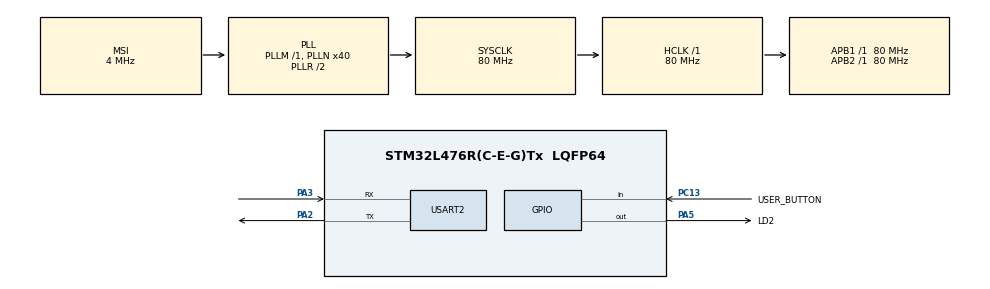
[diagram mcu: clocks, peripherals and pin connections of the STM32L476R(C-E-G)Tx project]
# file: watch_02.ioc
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IWDG.Prescaler=IWDG_PRESCALER_32
Mcu.Family=STM32L4
Mcu.Name=STM32L476R(C-E-G)Tx
Mcu.Package=LQFP64
NVIC.PriorityGroup=NVIC_PRIORITYGROUP_4
PA13\ (JTMS-SWDIO).Mode=Serial_Wire
PA13\ (JTMS-SWDIO).Signal=SYS_JTMS-SWDIO
PA14\ (JTCK-SWCLK).Mode=Serial_Wire
PA14\ (JTCK-SWCLK).Signal=SYS_JTCK-SWCLK
PA2.Mode=Asynchronous
PA2.Signal=USART2_TX
PA3.Mode=Asynchronous
PA3.Signal=USART2_RX
PA5.GPIO_Label=LD2
PA5.Signal=GPIO_Output
PC13.GPIO_Label=USER_BUTTON
PC13.Signal=GPIO_Input
PC14-OSC32_IN\ (PC14).Mode=LSE-External-Oscillator
PC14-OSC32_IN\ (PC14).Signal=RCC_OSC32_IN
PC15-OSC32_OUT\ (PC15).Mode=LSE-External-Oscillator
PC15-OSC32_OUT\ (PC15).Signal=RCC_OSC32_OUT
ProjectManager.HeapSize=0x200
ProjectManager.StackSize=0x400
ProjectManager.TargetToolchain=STM32CubeIDE
RCC.ADCFreq_Value=16000000
RCC.AHBFreq_Value=80000000
RCC.APB1Freq_Value=80000000
RCC.APB1TimFreq_Value=80000000
RCC.APB2Freq_Value=80000000
RCC.APB2TimFreq_Value=80000000
RCC.CortexFreq_Value=80000000
RCC.HCLKFreq_Value=80000000
RCC.HSE_VALUE=8000000
RCC.HSI_VALUE=16000000
RCC.MSI_VALUE=4000000
RCC.PLLN=40
RCC.RTCClockSelection=RCC_RTCCLKSOURCE_LSE
RCC.SYSCLKFreq_VALUE=80000000
RCC.SYSCLKSource=RCC_SYSCLKSOURCE_PLLCLK
RCC.USBFreq_Value=16000000
RCC.VCOOutputFreq_Value=160000000
USART2.OverrunDisableParam=ADVFEATURE_OVERRUN_DISABLE
USART2.VirtualMode-Asynchronous=VM_ASYNC
VP_IWDG_VS_IWDG.Mode=IWDG_Activate
VP_RTC_VS_RTC_Activate.Mode=RTC_Enabled
board=custom

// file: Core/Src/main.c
/* USER CODE BEGIN Header */
/**
  ******************************************************************************
  * @file           : main.c
  * @brief          : Main program body
  ******************************************************************************
  * @attention
  *
  * <h2><center>&copy; Copyright (c) 2022 STMicroelectronics.
  * All rights reserved.</center></h2>
  *
  * This software component is licensed by ST under BSD 3-Clause license,
  * the "License"; You may not use this file except in compliance with the
  * License. You may obtain a copy of the License at:
  *                        opensource.org/licenses/BSD-3-Clause
  *
  ******************************************************************************
  */
/* USER CODE END Header */
#include "main.h"
#include "iwdg.h"
#include "rtc.h"
#include "usart.h"
#include "gpio.h"

/* USER CODE BEGIN Includes */
#include <stdio.h>
#include <string.h>
#include <stdbool.h>
/* USER CODE END Includes */

void SystemClock_Config(void);

/* USER CODE BEGIN PFP */
int __io_putchar(int ch);

bool is_button_pressed(void);
/* USER CODE END PFP */

int main(void)
{

    /* MCU Configuration--------------------------------------------------------*/

    /* Reset of all peripherals, Initializes the Flash interface and the Systick. */
    HAL_Init();

    /* Configure the system clock */
    SystemClock_Config();

    /* Initialize all configured peripherals */
    MX_GPIO_Init();
    MX_USART2_UART_Init();
    MX_RTC_Init();
    MX_IWDG_Init();
    /* USER CODE BEGIN 2 */
    int i;

    for (i = 0; i < 10; i++)
    {
        HAL_GPIO_TogglePin(LD2_GPIO_Port, LD2_Pin);
        HAL_Delay(100);
    }

    uint32_t last_ms = HAL_GetTick();
    /* USER CODE END 2 */

    /* Infinite loop */
    /* USER CODE BEGIN WHILE */
    while (1)
    {
        uint32_t now_ms = HAL_GetTick();

        if (is_button_pressed())
        {
            while (1)
            {
            }
        }

        if ((now_ms - last_ms) >= 500)
        {
            HAL_GPIO_TogglePin(LD2_GPIO_Port, LD2_Pin);
            last_ms = now_ms;

            HAL_IWDG_Refresh(&hiwdg);
        }
        /* USER CODE END WHILE */

    }
}

void SystemClock_Config(void)
{
    RCC_OscInitTypeDef RCC_OscInitStruct = {0};
    RCC_ClkInitTypeDef RCC_ClkInitStruct = {0};
    RCC_PeriphCLKInitTypeDef PeriphClkInit = {0};

    /** Configure LSE Drive Capability
    */
    HAL_PWR_EnableBkUpAccess();
    __HAL_RCC_LSEDRIVE_CONFIG(RCC_LSEDRIVE_LOW);
    /** Initializes the RCC Oscillators according to the specified parameters
    * in the RCC_OscInitTypeDef structure.
    */
    RCC_OscInitStruct.OscillatorType = RCC_OSCILLATORTYPE_LSI | RCC_OSCILLATORTYPE_LSE
                                       | RCC_OSCILLATORTYPE_MSI;
    RCC_OscInitStruct.LSEState = RCC_LSE_ON;
    RCC_OscInitStruct.LSIState = RCC_LSI_ON;
    RCC_OscInitStruct.MSIState = RCC_MSI_ON;
    RCC_OscInitStruct.MSICalibrationValue = 0;
    RCC_OscInitStruct.MSIClockRange = RCC_MSIRANGE_6;
    RCC_OscInitStruct.PLL.PLLState = RCC_PLL_ON;
    RCC_OscInitStruct.PLL.PLLSource = RCC_PLLSOURCE_MSI;
    RCC_OscInitStruct.PLL.PLLM = 1;
    RCC_OscInitStruct.PLL.PLLN = 40;
    RCC_OscInitStruct.PLL.PLLP = RCC_PLLP_DIV7;
    RCC_OscInitStruct.PLL.PLLQ = RCC_PLLQ_DIV2;
    RCC_OscInitStruct.PLL.PLLR = RCC_PLLR_DIV2;
    if (HAL_RCC_OscConfig(&RCC_OscInitStruct) != HAL_OK)
    {
        Error_Handler();
    }
    /** Initializes the CPU, AHB and APB buses clocks
    */
    RCC_ClkInitStruct.ClockType = RCC_CLOCKTYPE_HCLK | RCC_CLOCKTYPE_SYSCLK
                                  | RCC_CLOCKTYPE_PCLK1 | RCC_CLOCKTYPE_PCLK2;
    RCC_ClkInitStruct.SYSCLKSource = RCC_SYSCLKSOURCE_PLLCLK;
    RCC_ClkInitStruct.AHBCLKDivider = RCC_SYSCLK_DIV1;
    RCC_ClkInitStruct.APB1CLKDivider = RCC_HCLK_DIV1;
    RCC_ClkInitStruct.APB2CLKDivider = RCC_HCLK_DIV1;

    if (HAL_RCC_ClockConfig(&RCC_ClkInitStruct, FLASH_LATENCY_4) != HAL_OK)
    {
        Error_Handler();
    }
    PeriphClkInit.PeriphClockSelection = RCC_PERIPHCLK_RTC | RCC_PERIPHCLK_USART2;
    PeriphClkInit.Usart2ClockSelection = RCC_USART2CLKSOURCE_PCLK1;
    PeriphClkInit.RTCClockSelection = RCC_RTCCLKSOURCE_LSE;
    if (HAL_RCCEx_PeriphCLKConfig(&PeriphClkInit) != HAL_OK)
    {
        Error_Handler();
    }
    /** Configure the main internal regulator output voltage
    */
    if (HAL_PWREx_ControlVoltageScaling(PWR_REGULATOR_VOLTAGE_SCALE1) != HAL_OK)
    {
        Error_Handler();
    }
    /** Enable MSI Auto calibration
    */
    HAL_RCCEx_EnableMSIPLLMode();
}

/* USER CODE BEGIN 4 */
int __io_putchar(int ch)
{
    if (ch == '\n')
    {
        uint8_t ch2 = '\r';
        HAL_UART_Transmit(&huart2, &ch2, 1, HAL_MAX_DELAY);
    }

    HAL_UART_Transmit(&huart2, (uint8_t *) &ch, 1, HAL_MAX_DELAY);
    return 1;
}

bool is_button_pressed(void)
{
    if (HAL_GPIO_ReadPin(USER_BUTTON_GPIO_Port, USER_BUTTON_Pin) == GPIO_PIN_RESET)
    {
        return true;
    }
    else
    {
        return false;
    }
}
/* USER CODE END 4 */

void Error_Handler(void)
{
    __disable_irq();
    while (1)
    {
    }
}

/************************ (C) COPYRIGHT STMicroelectronics *****END OF FILE****/
